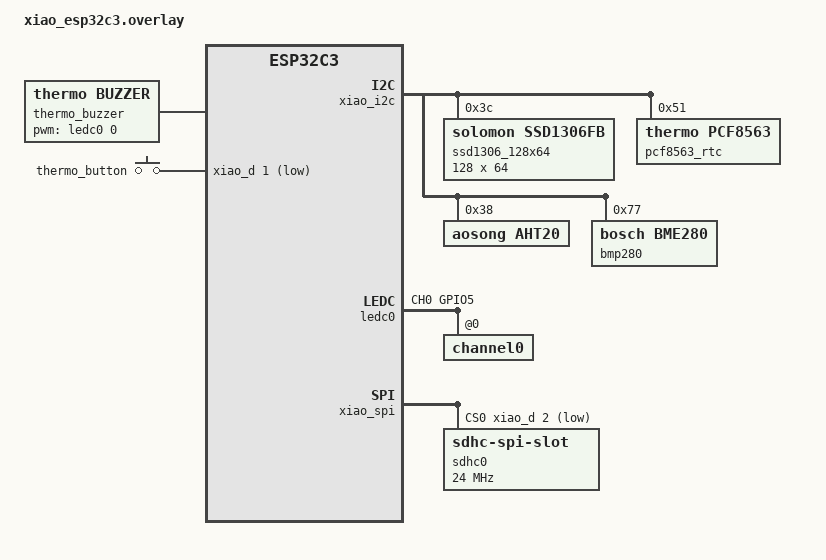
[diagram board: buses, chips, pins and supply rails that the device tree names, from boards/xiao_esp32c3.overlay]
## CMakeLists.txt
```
cmake_minimum_required(VERSION 3.20.0)

# デバッグログ (LOG_DBG と LOG_HEXDUMP_DBG) を有効にする. アプリのソースだけに, THERMO_LOG_LEVEL=4 (DBG) を付ける
# (Zephyr のモジュールは既定のレベルのまま. 全体を DBG にすると, ログの量が多すぎて動かなくなる).
# 例: west build -b xiao_esp32c3 app/thermo-node -- -DTHERMO_DEBUG_LOG=ON
option(THERMO_DEBUG_LOG "Enable the debug logs of the application" OFF)

# デバッグログのときはセンサのドライバの DBG ログも出す. DHT11 のドライバは "データのチェックサムが
# 合わない" (センサは応答したが, BLE の割り込みなどで読み取りが乱れた) を DBG ログに出す.
# このログがなく -EIO だけのときはセンサの応答がない (配線, 接触, 電源). native_sim にはセンサの
# ドライバがないので, 付けない
if(THERMO_DEBUG_LOG AND NOT BOARD MATCHES "^native_sim")
  list(APPEND EXTRA_CONF_FILE ${CMAKE_CURRENT_LIST_DIR}/debug.conf)
endif()

find_package(Zephyr REQUIRED HINTS $ENV{ZEPHYR_BASE})

project(thermo-node)
# strnlen は POSIX の関数. native_sim (glibc, -std=c99) ではこの定義がないと宣言が見えない
target_compile_definitions(app PRIVATE _POSIX_C_SOURCE=200809L)

target_sources(app PRIVATE src/main.c)
target_sources(app PRIVATE src/ble.c)

# thermo-node と thermo-gateway で共有する, BLE の UUID の定義 (app/common/)
target_include_directories(app PRIVATE ${CMAKE_CURRENT_SOURCE_DIR}/../common)
if(THERMO_DEBUG_LOG)
  target_compile_definitions(app PRIVATE THERMO_LOG_LEVEL=4)
endif()
target_sources(app PRIVATE src/sensor.c)
# OLED (CONFIG_THERMO_DISPLAY=n のときはビルドしない)
target_sources_ifdef(CONFIG_THERMO_DISPLAY app PRIVATE src/oled.c src/history.c src/button.c)
# 起動画面と起動音 (CONFIG_THERMO_BOOT_SCREEN と CONFIG_THERMO_BUZZER がどちらも n のときはビルドしない).
# 素材 (絵, 題名, メロディ) は private/src/boot_assets.c (別のプライベートリポジトリをサブモジュールとして置く)
# があればそれを使う. なければ, このアプリのオリジナルの素材 (src/boot_assets.c). docs/setup.md を参照
if(EXISTS ${CMAKE_CURRENT_SOURCE_DIR}/private/src/boot_assets.c)
  set(THERMO_BOOT_ASSETS ${CMAKE_CURRENT_SOURCE_DIR}/private/src/boot_assets.c)
else()
  set(THERMO_BOOT_ASSETS ${CMAKE_CURRENT_SOURCE_DIR}/src/boot_assets.c)
endif()
if(CONFIG_THERMO_BOOT_SCREEN OR CONFIG_THERMO_BUZZER)
  target_sources(app PRIVATE ${THERMO_BOOT_ASSETS})
  # private/ の素材が src/ のヘッダ (boot_assets.h, buzzer.h) を #include できるようにする
  target_include_directories(app PRIVATE ${CMAKE_CURRENT_SOURCE_DIR}/src)
endif()
target_sources_ifdef(CONFIG_THERMO_BUZZER app PRIVATE src/buzzer.c)
# ボタンを押したときの音 (CONFIG_THERMO_BUTTON_SOUND=n のときはビルドしない). 素材は private/src/button_assets.c があれば,
# それを使う (起動画面と起動音と同じ). なければ, このアプリのオリジナルの音 (src/button_assets.c). docs/setup.md を参照
if(EXISTS ${CMAKE_CURRENT_SOURCE_DIR}/private/src/button_assets.c)
  set(THERMO_BUTTON_ASSETS ${CMAKE_CURRENT_SOURCE_DIR}/private/src/button_assets.c)
else()
  set(THERMO_BUTTON_ASSETS ${CMAKE_CURRENT_SOURCE_DIR}/src/button_assets.c)
endif()
if(CONFIG_THERMO_BUTTON_SOUND)
  target_sources(app PRIVATE ${THERMO_BUTTON_ASSETS})
endif()

# RTC の時刻と, PCF8563 のドライバ (CONFIG_THERMO_RTC=n のときはビルドしない). binding は
# dts/bindings/rtc/thermo,pcf8563.yaml (アプリのディレクトリは Devicetree のルートになる)
target_sources_ifdef(CONFIG_THERMO_RTC app PRIVATE src/node_time.c drivers/rtc_pcf8563.c)

# WiFi と SNTP による時刻の取得と, WiFi での AWS IoT Core への直接の送信 (CONFIG_THERMO_WIFI_TIME=n のときは
# ビルドしない). 設定 (cfg), シェル (cfg_shell), WiFi (wifi_link), MQTT (cloud), SNTP (ntp), ペイロード
# (payload) は thermo-gateway と共有する, app/common/ のソース
target_sources_ifdef(CONFIG_THERMO_WIFI_TIME app PRIVATE
  ${CMAKE_CURRENT_SOURCE_DIR}/../common/cfg.c
  ${CMAKE_CURRENT_SOURCE_DIR}/../common/cfg_shell.c
  ${CMAKE_CURRENT_SOURCE_DIR}/../common/cloud.c
  ${CMAKE_CURRENT_SOURCE_DIR}/../common/ntp.c
  ${CMAKE_CURRENT_SOURCE_DIR}/../common/payload.c
  ${CMAKE_CURRENT_SOURCE_DIR}/../common/wifi_link.c
  src/wifi_shell.c
  src/wifi_time.c)
# ゲートウェイにつながらないときの, 直接の送信 (CONFIG_THERMO_DIRECT_MQTT=n のときはビルドしない)
target_sources_ifdef(CONFIG_THERMO_DIRECT_MQTT app PRIVATE src/direct.c)
# SD カードに溜める, 送れなかった測定値 (CONFIG_THERMO_BACKLOG=n のときはビルドしない)
target_sources_ifdef(CONFIG_THERMO_BACKLOG app PRIVATE src/backlog.c)
# ログの SD カードへの保存 (CONFIG_THERMO_SDLOG=n のときはビルドしない)
target_sources_ifdef(CONFIG_THERMO_SDLOG app PRIVATE src/sdlog.c)
# グラフの履歴の SD カードへの保存と復元 (CONFIG_THERMO_HISTORY_STORE=n のときはビルドしない)
target_sources_ifdef(CONFIG_THERMO_HISTORY_STORE app PRIVATE src/history_store.c)

# 警告オプション (app/warnings.txt). 警告が出たら修正する
include(${CMAKE_CURRENT_SOURCE_DIR}/../warnings.cmake)
include(${CMAKE_CURRENT_SOURCE_DIR}/../version.cmake)
```

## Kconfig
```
mainmenu "Thermo application"

config SIMULATOR
    bool "Build in simulator mode"
    help
      Use simulated sensor data and log simulator mode at startup.

config THERMO_ADC_MV_PER_DEG
    int "ADC temperature sensor: millivolts per degree Celsius"
    default 10
    range 1 1000
    help
      Used only when the temperature is read from an ADC channel
      (io-channels of zephyr,user). The default is for LM35
      (10 mV per degree Celsius).

config THERMO_ADC_OFFSET_MV
    int "ADC temperature sensor: voltage at 0 degrees Celsius [mV]"
    default 0
    range -2000 2000
    help
      Used only when the temperature is read from an ADC channel.
      The default is for LM35 (0 mV at 0 degrees Celsius).

config THERMO_DISPLAY
    bool "Show the temperature and the humidity on the OLED display"
    default y if $(dt_alias_enabled,thermo-display)
    select DISPLAY
    select CHARACTER_FRAMEBUFFER
    help
      Show the measured values on the OLED display (SSD1306, 128x64) of
      the Seeed Studio XIAO expansion board (Devicetree alias
      thermo-display). The default is y when the alias exists.
      Set n (-DCONFIG_THERMO_DISPLAY=n) to build without the display.

config THERMO_DISPLAY_TIMEOUT_SEC
    int "Turn off the OLED display after this many seconds (0: always on)"
    default 10
    range 0 3600
    depends on THERMO_DISPLAY
    help
      The OLED display is turned on when the node starts and when the
      user button (D1) is pressed, and it is turned off after this many
      seconds without a button press. The button press that wakes the
      display does not switch the page. Set 0 to keep the display on.

config THERMO_BOOT_SCREEN
    bool "Show the boot animation on the OLED display"
    default y
    depends on THERMO_DISPLAY
    help
      Show an animation (a round character eating dots, chased by an
      enemy) and the title for about 3 seconds when the node starts.
      The pictures are defined in boot_assets.c.

config THERMO_BUZZER
    bool "Play the boot sound with the buzzer of the expansion board"
    default y if $(dt_alias_enabled,thermo-buzzer)
    select PWM
    help
      Play a short melody with the passive buzzer of the Seeed Studio
      XIAO expansion board (D3, PWM of the LEDC) when the node starts.
      The melody is defined in boot_assets.c. The default is y when the
      Devicetree alias thermo-buzzer exists.

config THERMO_BUTTON_SOUND
    bool "Play a sound with the buzzer when the button is pressed"
    default y
    depends on THERMO_BUZZER && THERMO_DISPLAY
    help
      Play a short sound with the buzzer when the user button (D1) is
      pressed. The button switches the pages of the OLED display, so this
      depends on THERMO_DISPLAY. The sound is defined in button_assets.c.
      If app/thermo-node/private/src/button_assets.c exists, it is used
      instead (a private repository can be put there as a submodule).

config THERMO_RTC
    bool "Keep the time with the RTC (PCF8563) of the expansion board"
    default y if $(dt_alias_enabled,thermo-rtc)
    select I2C
    select RTC
    help
      Read the time from the RTC (PCF8563, Devicetree alias thermo-rtc)
      and show it on the OLED display. The RTC driver of this
      application (drivers/rtc_pcf8563.c, compatible thermo,pcf8563) is
      used, because the driver of Zephyr v4.3 does not handle the month
      and the year as the chip does. The default is y when the alias
      exists. Set n (-DCONFIG_THERMO_RTC=n) to build without the RTC.

config THERMO_UTC_OFFSET_MIN
    int "Offset of the local time from UTC [minutes]"
    default 540
    range -720 840
    depends on THERMO_RTC
    help
      The RTC keeps UTC. The OLED display shows the local time, which is
      UTC plus this offset. The default is 540 (UTC+9, Japan Standard
      Time).

config THERMO_WIFI_TIME
    bool "Get the time over WiFi when BLE does not give it"
    default y
    depends on THERMO_RTC
    help
      When the RTC has no time for 5 minutes (the gateway has not sent
      the time over BLE), connect to WiFi, get the time with SNTP, set
      the RTC and disconnect WiFi at once. WiFi is not used while the
      RTC has the time. The SSID and the password are entered with the
      "thermo" shell command (thermo set ssid ..., thermo set psk ...).

config THERMO_NTP_SERVER
    string "NTP server host name"
    default "pool.ntp.org"
    depends on THERMO_WIFI_TIME
    help
      The SNTP server that is asked for the time over WiFi.

config THERMO_NTP_RESYNC_SEC
    int "Minimum interval between two time synchronizations [s]"
    default 3600
    depends on THERMO_WIFI_TIME
    help
      Used when the node sends directly to AWS IoT Core over WiFi: after
      a successful synchronization, the next one is skipped until this
      many seconds have passed (it is tried at each WiFi connection).

config THERMO_DIRECT_MQTT
    bool "Send directly to AWS IoT Core over WiFi when the gateway is not connected"
    default y
    depends on THERMO_WIFI_TIME
    help
      When BLE is not connected to the gateway for 5 samples in a row,
      connect to WiFi and publish the temperature to AWS IoT Core with
      MQTT over TLS every 10 seconds. When the gateway connects again,
      stop and disconnect WiFi. If the WiFi or the MQTT connection fails
      5 times, give up until the gateway connects once more. The settings
      (SSID, password, endpoint, client ID, certificates) are entered with
      the "thermo" shell command, as for the gateway. Use a certificate and
      a client ID of its own for each node.

config THERMO_BACKLOG
    bool "Save the values on the SD card, and send them later"
    default y if $(dt_nodelabel_enabled,sdhc0)
    depends on THERMO_DIRECT_MQTT
    select DISK_ACCESS
    select FILE_SYSTEM
    select FAT_FILESYSTEM_ELM
    select CRC
    help
      Save every measurement (UNIX time, temperature, humidity and a
      "sent" flag) on the SD card of the expansion board (FAT, SPI).
      The values measured while BLE is connected to the gateway are
      saved as sent (the gateway sends them). The values measured while
      neither BLE nor WiFi is connected are saved as not sent, and sent
      to AWS IoT Core in the order of the time with MQTT when the
      gateway or WiFi is available again. The default is y when the SD
      card is in the Devicetree (the node label sdhc0). The card must be
      formatted with FAT.

config THERMO_BACKLOG_MAX_RECORDS
    int "Maximum number of the values on the SD card"
    default 100000
    range 10 4000000
    depends on THERMO_BACKLOG
    help
      One value takes 16 bytes. The file is a ring of this many values:
      when it is full, the oldest values are overwritten. The default
      100000 is about 1.6 MB, and about 5.8 days of the values saved
      every 5 seconds. The file is read once at the start (a few
      seconds for the default).

config THERMO_BACKLOG_MOUNT
    string "Mount point of the SD card"
    default "/SD:"
    depends on THERMO_BACKLOG
    help
      The FatFS volume name is the disk name of the Devicetree (SD).

config THERMO_SDLOG
    bool "Save the log on the SD card (the first minute after the start, and the errors)"
    default y
    depends on THERMO_BACKLOG
    depends on LOG
    help
      Save the log as text on the SD card of the expansion board, with a
      log backend. boot.log has all the logs of the first
      THERMO_SDLOG_BOOT_SEC seconds after the start (it is made again at
      every start). error.log has the errors (LOG_ERR) at any time. When
      it is full (THERMO_SDLOG_ERROR_MAX_BYTES), it is moved to error.old
      and a new error.log is made. The SD card is mounted by the backlog.

config THERMO_SDLOG_BOOT_SEC
    int "Seconds after the start in which all the logs are saved"
    default 60
    range 1 3600
    depends on THERMO_SDLOG

config THERMO_SDLOG_BOOT_BUF_SIZE
    int "RAM buffer of the boot log [bytes]"
    default 768
    range 128 16384
    depends on THERMO_SDLOG
    help
      The log is kept in RAM until it is written to the SD card (every
      second, and after the SD card is mounted). The log that does not
      fit is dropped, and reported as an error. The default is small,
      because the static RAM of the ESP32-C3 is almost full with BLE,
      WiFi and TLS (about 1 KB is left).

config THERMO_SDLOG_ERROR_BUF_SIZE
    int "RAM buffer of the error log [bytes]"
    default 256
    range 128 16384
    depends on THERMO_SDLOG

config THERMO_SDLOG_ERROR_MAX_BYTES
    int "Size of error.log at which it is moved to error.old [bytes]"
    default 65536
    range 512 4194304
    depends on THERMO_SDLOG

config THERMO_GRAPH_STEP_SEC
    int "Time per point of the graph on the OLED display [seconds]"
    default 170
    range 5 600
    depends on THERMO_DISPLAY
    help
      The graph pages of the OLED display (temperature and humidity)
      show the last 128 points, one point per this time (the average of
      the measurements in the time). The default 170 shows the last 6
      hours. 30 shows 64 minutes.

config THERMO_HISTORY_STORE
    bool "Restore the graph history from the SD card"
    default y
    depends on THERMO_BACKLOG && THERMO_DISPLAY && THERMO_RTC
    help
      When the node starts and the RTC has the time, rebuild the points
      of the graph (the average of the temperature and the humidity in a
      time step) from the records on the SD card, which are saved for
      every measurement. The time while the node was off is shown as a
      gap in the graph.

source "Kconfig.zephyr"
```

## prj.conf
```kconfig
# MCUboot ブートローダは使用しない
# CONFIG_BOOTLOADER_MCUBOOT is not set

# Bluetooth
CONFIG_BT=y
# デバイス名
CONFIG_BT_DEVICE_NAME="Thermo-Node"
CONFIG_BT_DEVICE_APPEARANCE=896
# ペリフェラルロール (アドバタイズして接続を受け付ける)
CONFIG_BT_PERIPHERAL=y
# 同時に接続できる数. 2 にすると BLE が使うヒープが増えて WiFi と TLS のぶんが足りなくなり, 直接送信が届かない (RAM が 99.9% 使われている. ゲートウェイと thermo-term は同時に接続できない)
CONFIG_BT_MAX_CONN=1
# GATT データベースを実行時に変更可能にする
CONFIG_BT_GATT_DYNAMIC_DB=y

# ログ
CONFIG_LOG=y
# ログを即時出力する (デバッグ向け)
CONFIG_LOG_MODE_IMMEDIATE=y

# GPIO
CONFIG_GPIO=y

# センサ API (AHT20 や DHT11 などの温湿度センサと, BMP280 などの気圧センサ. Devicetree の alias
# thermo-sensor と thermo-pressure). ドライバは Devicetree のノードで, 自動で有効になる.
# DHT11 の設定 (CONFIG_DHT_LOCK_IRQS) は sensors/dht11.conf
CONFIG_SENSOR=y

# ADC (アナログの温度センサ用. Devicetree の zephyr,user の io-channels)
CONFIG_ADC=y

# メインスレッドのスタック (OLED のグラフの描画で点の配列と履歴を使うため, 既定の 2048 では足りない.
# WiFi の接続と SNTP (CONFIG_THERMO_WIFI_TIME) もメインスレッドで呼ぶ)
CONFIG_MAIN_STACK_SIZE=6144

# --- WiFi と SNTP による時刻の取得 (CONFIG_THERMO_WIFI_TIME. BLE で時刻が届かないときだけ使う) ---
# ネットワーク (IPv4 と DHCP のみ)
CONFIG_NETWORKING=y
CONFIG_NET_IPV4=y
CONFIG_NET_IPV6=n
CONFIG_NET_DHCPV4=y
CONFIG_NET_TCP=y
CONFIG_NET_UDP=y
CONFIG_NET_SOCKETS=y
CONFIG_DNS_RESOLVER=y
# SNTP (時刻の取得)
CONFIG_SNTP=y
# WiFi (ステーションモード)
CONFIG_WIFI=y
CONFIG_NET_L2_WIFI_MGMT=y
CONFIG_NET_MGMT_EVENT_QUEUE_SIZE=16
# AWS IoT Core への直接の送信 (CONFIG_THERMO_DIRECT_MQTT. MQTT over TLS. thermo-gateway と同じ設定)
CONFIG_MQTT_LIB=y
CONFIG_MQTT_LIB_TLS=y
CONFIG_NET_SOCKETS_SOCKOPT_TLS=y
CONFIG_TLS_CREDENTIALS=y
CONFIG_MBEDTLS=y
CONFIG_MBEDTLS_BUILTIN=y
CONFIG_MBEDTLS_ENABLE_HEAP=y
CONFIG_MBEDTLS_HEAP_SIZE=40000
CONFIG_MBEDTLS_SSL_MAX_CONTENT_LEN=6144
CONFIG_MBEDTLS_ECDH_C=y
CONFIG_MBEDTLS_ECP_C=y
CONFIG_MBEDTLS_ECP_DP_SECP256R1_ENABLED=y
CONFIG_PSA_WANT_ALG_RSA_PKCS1V15_SIGN=y
CONFIG_PSA_WANT_ALG_RSA_PKCS1V15_CRYPT=y
CONFIG_PSA_WANT_ALG_SHA_256=y
CONFIG_PSA_WANT_ALG_HMAC=y
CONFIG_PSA_WANT_ALG_TLS12_PRF=y
CONFIG_PSA_WANT_KEY_TYPE_HMAC=y
CONFIG_PSA_WANT_KEY_TYPE_DERIVE=y
CONFIG_PSA_WANT_ALG_ECDH=y
CONFIG_PSA_WANT_KEY_TYPE_ECC_KEY_PAIR_GENERATE=y
CONFIG_PSA_WANT_KEY_TYPE_ECC_KEY_PAIR_IMPORT=y
CONFIG_PSA_WANT_KEY_TYPE_ECC_KEY_PAIR_EXPORT=y
CONFIG_PSA_WANT_KEY_TYPE_ECC_KEY_PAIR_DERIVE=y
CONFIG_PSA_WANT_ECC_SECP_R1_256=y
CONFIG_PSA_WANT_ALG_GCM=y
CONFIG_MBEDTLS_KEY_EXCHANGE_ECDHE_RSA_ENABLED=y
CONFIG_MBEDTLS_CIPHER_GCM_ENABLED=y
CONFIG_MBEDTLS_PEM_CERTIFICATE_FORMAT=y
CONFIG_NET_SOCKETS_CONNECT_TIMEOUT=30000
CONFIG_MBEDTLS_HAVE_TIME_DATE=y
CONFIG_BASE64=y
# 証明書をシェル (cred add) で登録する
CONFIG_TLS_CREDENTIALS_SHELL=y
CONFIG_TLS_CREDENTIALS_SHELL_CRED_BUF_SIZE=2048
CONFIG_HEAP_MEM_POOL_ADD_SIZE_TLS_CRED_SHELL=5000
# RAM を減らす (BLE と WiFi と TLS と SD カードを同時に使うと, RAM が足りなくなるため). ネットワークは MQTT の
# 1 本の接続と DNS だけなので, バッファの数を既定 (RX と TX の net_buf は 36, net_pkt は 14) から減らす.
# SD カードの FatFS は同時に開くファイルを 1 つ (backlog.c) か, シェルの fs コマンドの分だけにする
CONFIG_NET_BUF_RX_COUNT=24
CONFIG_NET_BUF_TX_COUNT=24
CONFIG_NET_PKT_RX_COUNT=10
CONFIG_NET_PKT_TX_COUNT=10
CONFIG_FS_FATFS_NUM_FILES=2
CONFIG_FS_FATFS_NUM_DIRS=2
# SSID とパスワードをフラッシュ (storage_partition) に保存する
CONFIG_SETTINGS=y
CONFIG_FLASH=y
CONFIG_FLASH_MAP=y
CONFIG_NVS=y
CONFIG_SETTINGS_NVS=y

# シェル (デバッグ用)
CONFIG_SHELL=y
CONFIG_SHELL_BACKEND_SERIAL=y

# ファイルシステムのシェル (fs ls, fs cat など). SD カードのログを picocom で確認するため.
# 注意: rm と write も使えるので, ログの書き込み中は実行しないこと (docs/setup.md)
CONFIG_FILE_SYSTEM=y
CONFIG_FILE_SYSTEM_SHELL=y

# コンソール
CONFIG_CONSOLE=y
CONFIG_UART_CONSOLE=y
```

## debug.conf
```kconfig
# デバッグログ (THERMO_DEBUG_LOG=ON) のときに, prj.conf に足す設定 (CMakeLists.txt が読み込む)

# センサのドライバの DBG ログ (DHT11 の, チェックサムの不一致など)
CONFIG_SENSOR_LOG_LEVEL_DBG=y
```

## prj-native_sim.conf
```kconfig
# シミュレータモード
# アプリ独自の Kconfig: シミュレータ用ビルドを有効にする
CONFIG_SIMULATOR=y

# Bluetooth
CONFIG_BT=y
# デバイス名
CONFIG_BT_DEVICE_NAME="Thermo-Node-Sim"
CONFIG_BT_DEVICE_APPEARANCE=896
# ペリフェラルロール (アドバタイズして接続を受け付ける)
CONFIG_BT_PERIPHERAL=y
# GATT データベースを実行時に変更可能にする
CONFIG_BT_GATT_DYNAMIC_DB=y

# ログ
CONFIG_LOG=y
# ログを即時出力する (デバッグ向け)
CONFIG_LOG_MODE_IMMEDIATE=y

# シェル (デバッグ用)
CONFIG_SHELL=y
CONFIG_SHELL_BACKEND_SERIAL=y

# コンソール
CONFIG_CONSOLE=y
CONFIG_UART_CONSOLE=y

# メインスレッドのスタックサイズ [byte]
CONFIG_MAIN_STACK_SIZE=8192

# 乱数生成
# テスト用の乱数生成器を使用 (native_sim 向け)
CONFIG_TEST_RANDOM_GENERATOR=y
```

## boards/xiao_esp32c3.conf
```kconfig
# SD カード (拡張ボードの, SPI の SD カードスロット) を使うための設定. XIAO ESP32C3 だけ
# (native_sim には SD カードの Devicetree のノードがない). 使わないときは CONFIG_THERMO_BACKLOG=n.
CONFIG_SPI=y
CONFIG_SDHC=y
CONFIG_DISK_DRIVER_SDMMC=y
```

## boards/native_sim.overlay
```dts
/* native_sim 用: ADC を持たないシミュレーション構成。io-channels を定義しないことでシミュレーション値にフォールバックする */
/ {
    zephyr_user {
        compatible = "vnd,thermo-node";
        status = "okay";
    };
};
```

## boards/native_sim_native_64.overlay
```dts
/* native_sim 用: ADC を持たないシミュレーション構成. io-channels を定義しないことでシミュレーション値にフォールバックする */
/ {
    zephyr,user {
    };
};
```

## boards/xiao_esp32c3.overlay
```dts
/*
 * 温湿度センサと気圧センサの接続 (XIAO ESP32C3)
 *
 * AHT20 + BMP280 のモジュール (4 ピン: VCC / GND / SDA / SCL. DC 2.8 V から 5 V) を, 拡張ボードの
 * I2C (Grove の I2C のコネクタ. D4 が SDA, D5 が SCL) につなぐ (VCC は 3V3).
 *   AHT20 (温度と湿度. I2C のアドレスは 0x38) は alias thermo-sensor で使う (Zephyr の aosong,aht20
 *   のドライバ).
 *   BMP280 (気圧. I2C のアドレスは 0x77) は alias thermo-pressure で使う (Zephyr の bosch,bme280 の
 *   ドライバ. チップの ID で BMP280 として動く). モジュールによっては 0x76 なので, 起動のログに
 *   Pressure sensor is not ready が出たら, bmp280 のノードの reg と, ノードの名前を 0x76 にする.
 * 温度は AHT20 の値を使う (BMP280 の温度は使わない). BMP280 が使えないときも温度と湿度は送る
 * (気圧なし).
 *
 * DHT11 (3 ピンのモジュール) に替えるときは, app/thermo-node/sensors/dht11.overlay を足して
 * ビルドする (THERMO_SENSOR=dht11 docker compose run --rm build-node. docs/setup.md).
 *
 * ADC のアナログセンサ (LM35 など) に替えるときはこのファイルの aliases の thermo-sensor と
 * thermo-pressure と, aht20 と bmp280 のノードを消して, zephyr,user に io-channels を書く
 * (ADC のチャンネルの設定も要る. 例は app/thermo-node/tests/sensor/adc.overlay). 温度への換算は
 * CONFIG_THERMO_ADC_MV_PER_DEG と CONFIG_THERMO_ADC_OFFSET_MV で設定する (prj.conf).
 *
 * OLED (拡張ボードの SSD1306. I2C のアドレスは 0x3C. D4 が SDA, D5 が SCL) は alias
 * thermo-display で使う. 使わないときは CONFIG_THERMO_DISPLAY=n でビルドする (prj.conf または
 * -DCONFIG_THERMO_DISPLAY=n). ノードの設定は Zephyr の seeed_xiao_expansion_board のシールドと
 * 同じ (シールドは SD カードの SPI も有効にするので, 使わない).
 *
 * ブザー (拡張ボードのパッシブブザー. D3 = GPIO5) は alias thermo-buzzer で使う. PWM (LEDC のチャンネル
 * 0) の周波数が音の高さになる. 起動のときの, 短いメロディを鳴らす (CONFIG_THERMO_BUZZER=n のときは
 * 使わない). PWM の周期は鳴らすときに, 音ごとに, 設定する (ここの値は使わない).
 *
 * ボタン (拡張ボードのユーザボタン. D1 = GPIO3. 押すと, 0 になる) は alias thermo-button で使い,
 * OLED の画面を切り替える (CONFIG_THERMO_DISPLAY=n のときは使わない).
 *
 * RTC (拡張ボードの PCF8563. I2C のアドレスは 0x51) は alias thermo-rtc で使う. Zephyr の RTC
 * ドライバ (nxp,pcf8563) は月と年の扱いがチップと合わないので使わず, このアプリのドライバ
 * (drivers/rtc_pcf8563.c. compatible は thermo,pcf8563) を使う. 使わないときは
 * CONFIG_THERMO_RTC=n でビルドする.
 */
#include <zephyr/dt-bindings/gpio/gpio.h>
#include <zephyr/dt-bindings/pwm/pwm.h>

/ {
    aliases {
        thermo-sensor = &aht20;
        thermo-pressure = &bmp280;
        thermo-display = &ssd1306_128x64;
        thermo-rtc = &pcf8563_rtc;
        thermo-button = &thermo_button;
        thermo-buzzer = &thermo_buzzer;
    };

    thermo_buzzer: pwm-buzzer {
        compatible = "thermo,buzzer";
        pwms = <&ledc0 0 PWM_HZ(1000) PWM_POLARITY_NORMAL>;
    };

    buttons {
        compatible = "gpio-keys";

        thermo_button: button_0 {
            gpios = <&xiao_d 1 (GPIO_PULL_UP | GPIO_ACTIVE_LOW)>;
        };
    };
};

&xiao_i2c {
    status = "okay";

    ssd1306_128x64: ssd1306@3c {
        compatible = "solomon,ssd1306fb";
        reg = <0x3c>;
        width = <128>;
        height = <64>;
        segment-offset = <0>;
        page-offset = <0>;
        display-offset = <0>;
        multiplex-ratio = <63>;
        segment-remap;
        com-invdir;
        prechargep = <0x22>;
    };

    pcf8563_rtc: pcf8563@51 {
        compatible = "thermo,pcf8563";
        reg = <0x51>;
        status = "okay";
    };

    aht20: aht20@38 {
        compatible = "aosong,aht20";
        reg = <0x38>;
        status = "okay";
    };

    bmp280: bmp280@77 {
        compatible = "bosch,bme280";
        reg = <0x77>;
        status = "okay";
    };
};

&pinctrl {
    ledc0_default: ledc0_default {
        group1 {
            pinmux = <LEDC_CH0_GPIO5>;
            output-enable;
        };
    };
};

&ledc0 {
    pinctrl-0 = <&ledc0_default>;
    pinctrl-names = "default";
    status = "okay";
    #address-cells = <1>;
    #size-cells = <0>;

    channel0@0 {
        reg = <0x0>;
        timer = <0>;
    };
};

/*
 * SD カード (拡張ボードの, SPI の SD カードスロット. CS は D2) は送れなかった測定値を溜めるために使う
 * (CONFIG_THERMO_BACKLOG). Zephyr の seeed_xiao_expansion_board のシールドと同じ設定 (SPI は XIAO の
 * D8 が SCK, D9 が MISO, D10 が MOSI). ディスク名は SD (マウントポイント /SD:).
 */
&xiao_spi {
    status = "okay";
    cs-gpios = <&xiao_d 2 GPIO_ACTIVE_LOW>;

    sdhc0: sdhc@0 {
        compatible = "zephyr,sdhc-spi-slot";
        reg = <0>;
        status = "okay";

        mmc {
            compatible = "zephyr,sdmmc-disk";
            disk-name = "SD";
            status = "okay";
        };
        spi-max-frequency = <24000000>;
    };
};
```

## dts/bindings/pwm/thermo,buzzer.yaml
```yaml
# Copyright (c) 2026 Tetsuya Higashi
# SPDX-License-Identifier: GPL-3.0-or-later

description: |
  Passive buzzer driven by a PWM channel (the buzzer of the Seeed Studio XIAO expansion board).
  The frequency of the PWM is the pitch of the sound (the duty cycle is 50%).

compatible: "thermo,buzzer"

include: base.yaml

properties:
  pwms:
    type: phandle-array
    required: true
    description: The PWM channel that drives the buzzer
```

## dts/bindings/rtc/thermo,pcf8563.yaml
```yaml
# Copyright (c) 2026 Tetsuya Higashi
# SPDX-License-Identifier: GPL-3.0-or-later

description: |
  NXP PCF8563 RTC (the driver of thermo-node: app/thermo-node/drivers/rtc_pcf8563.c).
  It is not nxp,pcf8563 because the RTC driver of Zephyr v4.3 does not handle
  the month and the year as the chip does.

compatible: "thermo,pcf8563"

include:
  - name: rtc-device.yaml
  - name: i2c-device.yaml
```

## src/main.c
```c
/*
 * Copyright (c) 2026 Tetsuya Higashi
 *
 * SPDX-License-Identifier: GPL-3.0-or-later
 */

/**
 * @file
 * @brief thermo-node のエントリポイント
 */

#include <zephyr/kernel.h>
#include <zephyr/logging/log.h>
#include <stdbool.h> /* true */
#include <stdint.h>  /* int16_t uint16_t */
#include <stdlib.h>  /* EXIT_SUCCESS EXIT_FAILURE abs */

#include "backlog.h"
#include "ble.h"
#if defined(CONFIG_THERMO_BOOT_SCREEN) || defined(CONFIG_THERMO_BUZZER)
#include "boot_assets.h"
#endif
#ifdef CONFIG_THERMO_BUZZER
#include "buzzer.h"
#endif
#ifdef CONFIG_THERMO_BUTTON_SOUND
#include "button_assets.h"
#endif
#ifdef CONFIG_THERMO_RTC
#include "node_time.h"
#endif
#ifdef CONFIG_THERMO_WIFI_TIME
#include "wifi_time.h"
#endif
#ifdef CONFIG_THERMO_DIRECT_MQTT
#include "direct.h"
#endif
#ifdef CONFIG_THERMO_DISPLAY
#include "button.h"
#include "history.h"
#include "history_store.h"
#include "oled.h"
#endif
#include "sdlog.h"
#include "sensor.h"
#include "thermo_ble_uuid.h"
#include "thermo_log.h"
#include "thermo_version.h"

LOG_MODULE_REGISTER(thermo_node, THERMO_LOG_LEVEL);

/** 任意の機器 (RTC, OLED, ボタン) を使えるか. 初期化に失敗した機器は一定間隔で再試行する */
struct optional_devices {
    bool is_rtc_ready;     /**< RTC を使えるか */
    bool is_display_ready; /**< OLED を使えるか */
    bool is_button_ready;  /**< ボタンを使えるか */
    bool is_buzzer_ready;  /**< ブザーを使えるか */
    bool is_wifi_ready;    /**< WiFi (時刻の取得) を使えるか */
};

static void log_sample(int16_t temp_x10, uint16_t humidity_x10, uint16_t pressure_x10);

static void init_optional(struct optional_devices *devs);

#ifdef CONFIG_THERMO_DISPLAY
static bool set_display_power(bool is_on);
#endif

static void boot_sequence(const struct optional_devices *devs);

static int measure(int16_t *temp_x10, uint16_t *humidity_x10, uint16_t *pressure_x10);

static int64_t next_grid_ms(int64_t start_ms, int64_t now_ms, int64_t interval_ms);

#ifdef CONFIG_THERMO_WIFI_TIME
static bool check_time(bool is_time_valid, bool is_wifi_ready, unsigned int *tries);
#endif

#ifdef CONFIG_THERMO_BUTTON_SOUND
static void play_button_sound(bool is_buzzer_ready);
#endif

/** 温度を測定する間隔 [ms] */
#define SAMPLE_INTERVAL_MS 5000

/** OLED と時刻を更新する間隔 [ms] (時刻の秒を 1 秒ごとに更新する) */
#define REDRAW_INTERVAL_MS 1000

/** 任意の機器の初期化に失敗したときに, やり直す間隔 [s] */
#define RETRY_INTERVAL_S 60

/** 任意の機器の初期化に失敗したときに, やり直す間隔 [ms] */
#define RETRY_INTERVAL_MS (RETRY_INTERVAL_S * 1000)

#ifdef CONFIG_THERMO_WIFI_TIME
#ifdef CONFIG_THERMO_DIRECT_MQTT
/** WiFi での直接の送信を動かしているか (動かしている間は WiFi を時刻の取得に使わない) */
#define DIRECT_BUSY() direct_is_active()
#else
/** WiFi での直接の送信を使わないビルドでは動かしていない */
#define DIRECT_BUSY() false
#endif

/** RTC に時刻があるかを確かめる間隔 [ms] (1 分. 最初の確認は起動の 1 分後) */
#define TIME_CHECK_INTERVAL_MS 60000

/** WiFi で時刻を取る試みの回数の上限 (時刻がなくて試みて失敗した回数) */
#define WIFI_TRY_LIMIT 5U
#endif

/** メインループの周期 [ms] (ボタンを調べる間隔. ボタンのチャタリングを無視する時間にもなる) */
#define TICK_MS 50

#ifdef CONFIG_THERMO_DISPLAY
/** グラフの 1 点の時間 [ms] (CONFIG_THERMO_GRAPH_STEP_SEC) */
#define GRAPH_STEP_MS ((int64_t)CONFIG_THERMO_GRAPH_STEP_SEC * 1000)

/** ボタンを押さずに, OLED を消すまでの時間 [ms] (CONFIG_THERMO_DISPLAY_TIMEOUT_SEC. 0 は消さない)
 */
#define DISPLAY_TIMEOUT_MS ((int64_t)CONFIG_THERMO_DISPLAY_TIMEOUT_SEC * 1000)
#endif

/**
 * @brief ノードのメイン関数
 *
 * センサと BLE を初期化してアドバタイズを開始する. その後は 50 ms ごとのループで, 一定間隔
 * (SAMPLE_INTERVAL_MS) で温度を読み取ってログに出し, 接続しているゲートウェイへ通知 (GATT の
 * notify) する. ゲートウェイから時刻を受け取ったら (GATT の write), RTC に設定する
 * (CONFIG_THERMO_RTC). OLED があれば (CONFIG_THERMO_DISPLAY), 温度と湿度と時刻を 1 秒ごとに
 * 表示して, 温度と湿度の履歴 (グラフ) を覚える. ボタンを押すとページを切り替えて, すぐに表示し
 * 直す. OLED は起動のときとボタンを押したときに点灯し, ボタンを押さずに
 * CONFIG_THERMO_DISPLAY_TIMEOUT_SEC (既定 10 秒) たつと消える (0 なら消さない). 消えている間に
 * ボタンを押すと点灯するだけで, ページは切り替えず, ボタンの音も鳴らさない. 時刻は RTC
 * (CONFIG_THERMO_RTC) から読む. OLED と RTC とボタンの初期化に失敗しても, 表示と時刻を諦めるだけで
 * 測定と通知は続ける. 起動時の一時的な失敗から復帰するため, 初期化は RETRY_INTERVAL_MS ごとに
 * やり直す. 起動のときは OLED に起動画面を出して (約 3 秒), ブザーでメロディを鳴らす
 * (CONFIG_THERMO_BOOT_SCREEN と CONFIG_THERMO_BUZZER). ボタンを押したときもブザーで短い音を鳴らす
 * (CONFIG_THERMO_BUTTON_SOUND). RTC に時刻がないときは, 起動の 1 分後から 1 分ごとに確かめる.
 * ゲートウェイから時刻が届かなければ, WiFi と SNTP で時刻を取って RTC に設定する (最大 5 回.
 * CONFIG_THERMO_WIFI_TIME).
 *
 * @retval EXIT_FAILURE 初期化またはアドバタイズ開始に失敗した場合
 *                      (正常時はループから戻らない)
 */
int main(void)
{
    int ret = EXIT_SUCCESS;            /* 戻り値 */
    int64_t start_ms = k_uptime_get(); /* ループを始めた稼働時間 [ms] */
    int64_t next_sample_ms = 0;        /* 次に測る稼働時間 [ms] (初回はすぐ測る) */
    int64_t next_redraw_ms = 0;        /* 次に表示を更新する稼働時間 [ms] */
    int64_t next_retry_ms = start_ms + RETRY_INTERVAL_MS; /* 次に初期化をやり直す稼働時間 [ms] */
    int64_t now_ms = 0;                                   /* 今の稼働時間 [ms] */
    int16_t temp_x10 = 0;                                 /* 温度 [℃ の 10 倍] */
    uint16_t humidity_x10 = 0;                            /* 湿度 [% の 10 倍] */
    uint16_t pressure_x10 = 0;                            /* 気圧 [hPa の 10 倍] */
    struct optional_devices devs = {0};                   /* 任意の機器を使えるか */
#ifdef CONFIG_THERMO_RTC
    struct node_datetime datetime = {0}; /* RTC のローカルタイム */
#endif
#ifdef CONFIG_THERMO_WIFI_TIME
    int64_t next_time_check_ms = 0; /* 次に RTC の時刻を確かめる稼働時間 [ms] */
    unsigned int wifi_tries = 0U;   /* WiFi で時刻を取ろうとした回数 */
    bool is_time_done = false;      /* 時刻の確認を終えたか (時刻がある, または試みを尽くした) */
#endif
#ifdef CONFIG_THERMO_DISPLAY
    struct history temp_history = {0};     /* 温度の履歴 */
    struct history humidity_history = {0}; /* 湿度の履歴 */
    struct oled_view view = {0};           /* OLED に表示する内容 */
    bool is_display_on = false;            /* OLED が点灯しているか */
    int64_t display_off_ms = 0;            /* OLED を消す稼働時間 [ms] */
    bool is_prev_display = false;          /* やり直しの前に, OLED を使えたか */
#endif

#ifdef CONFIG_THERMO_DIRECT_MQTT
    /* SD カードをマウントして, ログを保存できるようにする (約 0.5 秒. 記録の読み込みはあとの
     * direct_init() で行う). 起動のログが RAM のバッファ (768 バイト) にあふれないよう,
     * 最初に行う (センサと BLE の初期化のログだけでバッファが埋まる)
     */
    ret = backlog_mount();
    if (ret != EXIT_SUCCESS) {
        LOG_WRN("No SD card, the log is not saved (err %d)", ret);
    }
#endif

/* ビルド構成に応じて起動ログを切り替える */
#ifdef CONFIG_SIMULATOR
    LOG_INF("Thermo Node started (SIMULATOR MODE)");
#else
    LOG_INF("Thermo Node started on ESP32C3");
#endif
    LOG_INF("Version %s (git %s)", THERMO_VERSION, THERMO_GIT_HASH);

    /* センサを初期化する */
    ret = sensor_init();
    if (ret != EXIT_SUCCESS) {
        LOG_ERR("Failed to initialize sensor");
        return EXIT_FAILURE;
    }
    /* バッファ (768 バイト) があふれないよう, 起動のログは初期化の区切りごとに SD カードに書く */
    sdlog_flush();

    /* BLE を初期化する */
    ret = ble_init();
    if (ret != EXIT_SUCCESS) {
        LOG_ERR("Failed to initialize BLE");
        return EXIT_FAILURE;
    }
    sdlog_flush();

#ifdef CONFIG_THERMO_RTC
    /* ゲートウェイが SNTP で得た時刻を書き込んできたら, RTC に設定する */
    ble_set_time_callback(node_time_set);
#endif

    /* ゲートウェイから検出されるようアドバタイズを開始する */
    ret = ble_advertise();
    if (ret != EXIT_SUCCESS) {
        LOG_ERR("Failed to start BLE advertising");
        return EXIT_FAILURE;
    }
    sdlog_flush();

    /* RTC と OLED とボタンを初期化する (失敗しても測定と通知は続ける) */
    init_optional(&devs);
    /* ここまでのログを SD カードに書く (起動画面の約 3 秒の間に, 溜まりすぎないように) */
    sdlog_flush();
    LOG_INF("Boot screen starts (uptime %lld ms)", (long long)k_uptime_get());
    boot_sequence(&devs);
    LOG_INF("Boot screen ended (uptime %lld ms)", (long long)k_uptime_get());
#if defined(CONFIG_THERMO_DISPLAY) && defined(CONFIG_THERMO_RTC)
    /* 時刻をすぐ見られるよう, 時間のかかる処理の前に, 1 回表示する (測定値はまだない) */
    if (devs.is_display_ready && devs.is_rtc_ready) {
        (void)node_time_get(&datetime);
        view.time = &datetime;
        ret = oled_show(&view);
        if (ret != EXIT_SUCCESS) {
            LOG_ERR("Failed to show on the OLED (err %d)", ret);
        }
    }
#endif
#ifdef CONFIG_THERMO_DIRECT_MQTT
    /* ゲートウェイにつながらないときの, WiFi での直接の送信を準備する (失敗しても続ける).
     * SD カードの全記録の読み込みに時間がかかるので, 時刻の表示のあとに行う
     */
    ret = direct_init();
    if (ret != EXIT_SUCCESS) {
        LOG_ERR("Direct publish is not available (err %d)", ret);
    }
#endif
    LOG_INF("Initialization done (uptime %lld ms)", (long long)k_uptime_get());
    /* SD カードをマウントできていれば, ここまでの起動のログを書く */
    sdlog_flush();
    /* 起動画面と direct_init() の間を除いてループの時間を数える */
    start_ms = k_uptime_get();
    next_retry_ms = start_ms + RETRY_INTERVAL_MS;
#ifdef CONFIG_THERMO_WIFI_TIME
    next_time_check_ms = start_ms + TIME_CHECK_INTERVAL_MS;
#endif
#ifdef CONFIG_THERMO_DISPLAY
    view.temp_history = &temp_history;
    view.humidity_history = &humidity_history;
    /* OLED は起動画面から点灯していて, ボタンを押さずに DISPLAY_TIMEOUT_MS たつと消える */
    is_display_on = devs.is_display_ready;
    display_off_ms = start_ms + DISPLAY_TIMEOUT_MS;
#endif

    /* 50 ms ごとにボタンを調べて, 一定間隔で温度と湿度を測り, 1 秒ごとに時刻を表示する */
    while (true) {
        now_ms = k_uptime_get();

        if (now_ms >= next_sample_ms) {
            next_sample_ms = next_grid_ms(start_ms, now_ms, SAMPLE_INTERVAL_MS);
            ret = measure(&temp_x10, &humidity_x10, &pressure_x10);
#ifdef CONFIG_THERMO_DIRECT_MQTT
            /* ゲートウェイにつながらない測定が続いたら, WiFi で直接送る */
            if (ret == EXIT_SUCCESS) {
                direct_sample(temp_x10, humidity_x10, pressure_x10);
            }
#endif
#ifdef CONFIG_THERMO_DISPLAY
            /* 読み取りに失敗したときは前回の値を表示し続ける */
            if (ret == EXIT_SUCCESS) {
                view.has_sample = true;
                view.temp_x10 = temp_x10;
                view.humidity_x10 = humidity_x10;
                history_add(&temp_history, temp_x10, now_ms, GRAPH_STEP_MS);
                if (humidity_x10 != THERMO_HUMIDITY_NONE) {
                    history_add(&humidity_history, (int16_t)humidity_x10, now_ms, GRAPH_STEP_MS);
                }
                /* 区切りが終わった点を SD カードに保存する (起動のあとは保存してあった点を戻す)
                 */
                history_store_update(&temp_history, &humidity_history, now_ms, GRAPH_STEP_MS);
            }
#endif
        }

#ifdef CONFIG_THERMO_DISPLAY
        /* ボタンが押されたら, 次のページにして, すぐに表示し直す (消えている OLED は点灯するだけ)
         */
        if (devs.is_button_ready && button_is_pressed()) {
            if (is_display_on || (!devs.is_display_ready)) {
                view.page = (view.page + 1U) % OLED_PAGE_COUNT;
#ifdef CONFIG_THERMO_BUTTON_SOUND
                play_button_sound(devs.is_buzzer_ready);
#endif
            } else {
                /* 点灯のための押下では音を鳴らさない */
                is_display_on = set_display_power(true);
            }
            display_off_ms = now_ms + DISPLAY_TIMEOUT_MS;
            next_redraw_ms = now_ms;
        }

        /* ボタンを押さずに DISPLAY_TIMEOUT_MS たったら, OLED を消す (0 のときは消さない) */
        if ((DISPLAY_TIMEOUT_MS > 0) && is_display_on && (now_ms >= display_off_ms)) {
            if (set_display_power(false)) {
                is_display_on = false;
            } else {
                display_off_ms = now_ms + REDRAW_INTERVAL_MS;
            }
        }
#endif

        /* 初期化に失敗した機器をやり直す (起動のときの一時的な失敗から, 復帰する) */
        if (now_ms >= next_retry_ms) {
            next_retry_ms = next_grid_ms(start_ms, now_ms, RETRY_INTERVAL_MS);
#ifdef CONFIG_THERMO_DISPLAY
            is_prev_display = devs.is_display_ready;
#endif
            init_optional(&devs);
#ifdef CONFIG_THERMO_DISPLAY
            /* OLED が使えるようになったら (初期化で点灯する), 消すまでの時間を数え直す */
            if ((!is_prev_display) && devs.is_display_ready) {
                is_display_on = true;
                display_off_ms = now_ms + DISPLAY_TIMEOUT_MS;
            }
#endif
        }

#ifdef CONFIG_THERMO_WIFI_TIME
        /* 1 分ごとに, RTC に時刻がなければ, WiFi で時刻を取る (最大 5 回. RTC が使えるまで待つ) */
        if ((!is_time_done) && (now_ms >= next_time_check_ms) && devs.is_rtc_ready &&
            (!DIRECT_BUSY())) {
            next_time_check_ms = next_grid_ms(start_ms, now_ms, TIME_CHECK_INTERVAL_MS);
            is_time_done = check_time(datetime.is_valid, devs.is_wifi_ready, &wifi_tries);
        }
#endif

        if (now_ms >= next_redraw_ms) {
            next_redraw_ms = next_grid_ms(start_ms, now_ms, REDRAW_INTERVAL_MS);
            /* 溜めたログを SD カードに書く (カードがないときは何もしない) */
            sdlog_flush();
#ifdef CONFIG_THERMO_RTC
            if (devs.is_rtc_ready) {
                /* 未設定や読み取りの失敗のときは datetime.valid が false (時刻なしと表示する) */
                (void)node_time_get(&datetime);
#ifdef CONFIG_THERMO_DISPLAY
                view.time = &datetime;
#endif
            }
#endif
#ifdef CONFIG_THERMO_DISPLAY
            /* OLED に表示する (点灯している間だけ. 失敗しても次回に再試行する) */
            if (is_display_on) {
                ret = oled_show(&view);
                if (ret != EXIT_SUCCESS) {
                    LOG_ERR("Failed to show on the OLED (err %d)", ret);
                }
            }
#endif
        }

        (void)k_msleep(TICK_MS);
    }
}

#ifdef CONFIG_THERMO_DISPLAY
/**
 * OLED を点灯または消灯する (失敗したときはログを出す)
 *
 * @param[in] is_on 点灯するなら true, 消灯するなら false
 * @retval true  成功
 * @retval false 失敗
 */
static bool set_display_power(bool is_on)
{
    int ret = EXIT_SUCCESS; /* 戻り値 */

    ret = oled_set_power(is_on);
    if (ret != EXIT_SUCCESS) {
        LOG_ERR("Failed to turn %s the OLED (err %d)", (is_on ? "on" : "off"), ret);
        return false;
    }

    return true;
}
#endif

/**
 * 任意の機器 (RTC, OLED, ボタン) のうち, まだ使えないものを初期化する
 *
 * 起動のときに呼んで, 失敗した機器は RETRY_INTERVAL_MS ごとに, もう一度呼ぶ. 失敗しても,
 * その機器を使えないだけで, 測定と通知は続ける. 使えるようになった機器は呼ばない.
 *
 * @param[in,out] devs 任意の機器を使えるか (初期化に成功した機器を true にする)
 */
static void init_optional(struct optional_devices *devs)
{
#ifdef CONFIG_THERMO_RTC
    int rtc_ret = EXIT_SUCCESS; /* RTC の初期化の戻り値 */
#endif
#ifdef CONFIG_THERMO_BUZZER
    int buzzer_ret = EXIT_SUCCESS; /* ブザーの初期化の戻り値 */
#endif
#ifdef CONFIG_THERMO_WIFI_TIME
    int wifi_ret = EXIT_SUCCESS; /* WiFi (時刻の取得) の初期化の戻り値 */
#endif
#ifdef CONFIG_THERMO_DISPLAY
    int display_ret = EXIT_SUCCESS; /* OLED の初期化の戻り値 */
    int button_ret = EXIT_SUCCESS;  /* ボタンの初期化の戻り値 */
#endif

    ARG_UNUSED(devs);

#ifdef CONFIG_THERMO_RTC
    if (!devs->is_rtc_ready) {
        rtc_ret = node_time_init();
        devs->is_rtc_ready = (rtc_ret == EXIT_SUCCESS);
        if (!devs->is_rtc_ready) {
            LOG_ERR("Failed to initialize the RTC (err %d), no time (retry in %d s)", rtc_ret,
                    RETRY_INTERVAL_S);
        }
    }
#endif

#ifdef CONFIG_THERMO_WIFI_TIME
    if (!devs->is_wifi_ready) {
        wifi_ret = wifi_time_init();
        devs->is_wifi_ready = (wifi_ret == EXIT_SUCCESS);
        if (!devs->is_wifi_ready) {
            LOG_ERR("Failed to initialize WiFi (err %d), no time over WiFi (retry in %d s)",
                    wifi_ret, RETRY_INTERVAL_S);
        }
    }
#endif

#ifdef CONFIG_THERMO_BUZZER
    if (!devs->is_buzzer_ready) {
        buzzer_ret = buzzer_init();
        devs->is_buzzer_ready = (buzzer_ret == EXIT_SUCCESS);
        if (!devs->is_buzzer_ready) {
            LOG_ERR("Failed to initialize the buzzer (err %d), no sound (retry in %d s)",
                    buzzer_ret, RETRY_INTERVAL_S);
        }
    }
#endif

#ifdef CONFIG_THERMO_DISPLAY
    if (!devs->is_display_ready) {
        display_ret = oled_init();
        devs->is_display_ready = (display_ret == EXIT_SUCCESS);
        if (!devs->is_display_ready) {
            LOG_ERR("Failed to initialize the OLED (err %d), no display (retry in %d s)",
                    display_ret, RETRY_INTERVAL_S);
        }
    }

    if (!devs->is_button_ready) {
        button_ret = button_init();
        devs->is_button_ready = (button_ret == EXIT_SUCCESS);
        if (!devs->is_button_ready) {
            LOG_ERR("Failed to initialize the button (err %d), the page is not switched "
                    "(retry in %d s)",
                    button_ret, RETRY_INTERVAL_S);
        }
    }
#endif
}

/**
 * 起動の画面と音を出す (起動のときに 1 回だけ)
 *
 * ブザーのメロディはワークキューで鳴るので, すぐに戻る. 起動画面は OLED_BOOT_FRAME_MS ごとに 1
 * フレームずつ, OLED_BOOT_FRAMES フレーム (約 3 秒) 表示する. その間, この関数は戻らない (BLE
 * のアドバタイズはすでに始まっている). 1 フレームの描画 (I2C) に時間がかかっても全体を約 3 秒に
 * するため, 時間が遅れたら間のフレームを飛ばす. 失敗したときはログを出して続ける
 * (画面や音を諦めるだけ).
 *
 * @param[in] devs 任意の機器を使えるか (使えない機器の画面や音は出さない)
 */
static void boot_sequence(const struct optional_devices *devs)
{
#ifdef CONFIG_THERMO_BUZZER
    int sound_ret = EXIT_SUCCESS; /* メロディを始める戻り値 */
#endif
#ifdef CONFIG_THERMO_BOOT_SCREEN
    unsigned int frame = 0U;       /* 起動画面のフレームの番号 */
    int screen_ret = EXIT_SUCCESS; /* 起動画面の戻り値 */
    int64_t start_ms = 0;          /* 起動画面を始めた稼働時間 [ms] */
    int64_t next_ms = 0;           /* 次のフレームの稼働時間 [ms] */
    int64_t now_ms = 0;            /* 今の稼働時間 [ms] */
#endif

    ARG_UNUSED(devs);

#ifdef CONFIG_THERMO_BUZZER
    if (devs->is_buzzer_ready) {
        sound_ret = buzzer_play(boot_melody, boot_melody_count);
        if (sound_ret != EXIT_SUCCESS) {
            LOG_ERR("Failed to play the boot sound (err %d)", sound_ret);
        }
    }
#endif

#ifdef CONFIG_THERMO_BOOT_SCREEN
    if (devs->is_display_ready) {
        start_ms = k_uptime_get();
        while (frame < OLED_BOOT_FRAMES) {
            screen_ret = oled_show_boot(frame);
            if (screen_ret != EXIT_SUCCESS) {
                LOG_ERR("Failed to show the boot screen (err %d)", screen_ret);
                break;
            }
            /* 次のフレームの時刻まで待つ (描画に時間がかかって遅れていれば, 待たない) */
            next_ms = start_ms + ((int64_t)(frame + 1U) * OLED_BOOT_FRAME_MS);
            now_ms = k_uptime_get();
            if (now_ms < next_ms) {
                (void)k_msleep((int32_t)(next_ms - now_ms));
            }
            /* 今の時刻のフレーム (遅れていれば間のフレームを飛ばす. 次のフレーム以降になる) */
            frame = (unsigned int)((k_uptime_get() - start_ms) / OLED_BOOT_FRAME_MS);
        }
    }
#endif
}

#ifdef CONFIG_THERMO_WIFI_TIME
/**
 * RTC に時刻がなければ, WiFi と SNTP で時刻を取って, RTC に設定する
 *
 * 1 分ごとに呼ぶ (最初は起動の 1 分後. その間に BLE でゲートウェイから時刻が届けば, RTC に
 * 時刻がある). RTC に時刻があれば, BLE でも WiFi でも取る必要がないので, 何もしないで,
 * 確認を終える. なければ, WiFi につないで時刻を取り, すぐに WiFi を切る (最大 25 秒,
 * この関数は戻らない). 取れなかったときはログを出して, 次の確認でやり直す. 試みが WIFI_TRY_LIMIT
 * 回になったら, 確認を終える (その後に BLE で時刻が届けば, RTC に設定される). WiFi を使えないとき
 * (初期化の失敗) は試みに数えず次の確認を待つ.
 *
 * @param[in]     is_time_valid RTC に時刻があるか (直前に読んだ結果)
 * @param[in]     is_wifi_ready WiFi (時刻の取得) を使えるか
 * @param[in,out] tries      WiFi で時刻を取ろうとした回数
 * @retval true  確認を終えた (RTC に時刻がある, または試みを尽くした)
 * @retval false 次の確認でも続ける
 */
static bool check_time(bool is_time_valid, bool is_wifi_ready, unsigned int *tries)
{
    int64_t unix_s = 0;     /* WiFi で取った UTC の UNIX 時刻 [s] */
    int ret = EXIT_SUCCESS; /* 戻り値 */

    if (is_time_valid) {
        return true;
    }

    if (!is_wifi_ready) {
        LOG_WRN("No time in the RTC, WiFi is not available");
        return false;
    }

    (*tries)++;
    LOG_WRN("No time in the RTC, getting it over WiFi (try %u of %u)", *tries, WIFI_TRY_LIMIT);
    ret = wifi_time_fetch(&unix_s);
    if (ret != EXIT_SUCCESS) {
        LOG_ERR("Failed to get the time over WiFi (err %d)", ret);
        return *tries >= WIFI_TRY_LIMIT;
    }

    ret = node_time_set(unix_s);
    if (ret != EXIT_SUCCESS) {
        LOG_ERR("Failed to set the RTC (err %d)", ret);
        return *tries >= WIFI_TRY_LIMIT;
    }

    return true;
}
#endif

#ifdef CONFIG_THERMO_BUTTON_SOUND
/**
 * ボタンを押したときの音を鳴らす
 *
 * 鳴っている音 (起動のメロディなど) があれば, 止めて, この音を最初から鳴らす. 鳴らせなかったときは
 * ログを出して, 続ける (ページの切り替えには影響しない).
 *
 * @param[in] is_buzzer_ready ブザーを使えるか (使えないときは何もしない)
 */
static void play_button_sound(bool is_buzzer_ready)
{
    int ret = EXIT_SUCCESS; /* 戻り値 */

    if (!is_buzzer_ready) {
        return;
    }

    ret = buzzer_play(button_melody, button_melody_count);
    if (ret != EXIT_SUCCESS) {
        LOG_ERR("Failed to play the button sound (err %d)", ret);
    }
}
#endif

/**
 * 温度と湿度と気圧を読み取って, ログに出力して, ゲートウェイへ通知する
 *
 * 読み取りに失敗したときは今回の値を捨てて (通知しない), 次回に再試行する. 通知に失敗しても,
 * 次回に再試行する.
 *
 * @param[out] temp_x10     温度 [℃ の 10 倍] の格納先 (NULL 不可)
 * @param[out] humidity_x10 湿度 [% の 10 倍] の格納先 (NULL 不可)
 * @param[out] pressure_x10 気圧 [hPa の 10 倍] の格納先 (NULL 不可)
 * @retval EXIT_SUCCESS 読み取りに成功 (通知の失敗は戻り値に含めない)
 * @retval negative     センサの読み取りの失敗 (負の errno)
 */
static int measure(int16_t *temp_x10, uint16_t *humidity_x10, uint16_t *pressure_x10)
{
    int ret = EXIT_SUCCESS;        /* 戻り値 */
    int notify_ret = EXIT_SUCCESS; /* 通知の戻り値 */

    ret = sensor_read(temp_x10, humidity_x10, pressure_x10);
    if (ret != EXIT_SUCCESS) {
        LOG_ERR("Reading the sensor failed (err %d)", ret);
        return ret;
    }

    log_sample(*temp_x10, *humidity_x10, *pressure_x10);

    /* 接続しているゲートウェイへ通知する (失敗しても次回に再試行する) */
    notify_ret = ble_notify_temperature(*temp_x10, *humidity_x10, *pressure_x10);
    if (notify_ret != EXIT_SUCCESS) {
        LOG_ERR("Failed to notify the temperature (err %d)", notify_ret);
    }

    return EXIT_SUCCESS;
}

/**
 * 温度と湿度と気圧をログに出力する
 *
 * 10 分の 1 の単位の整数を小数点付きの形 (例: -3.5 ℃, 45.0 %, 1013.2 hPa) で出力する.
 * 湿度を測れないとき (THERMO_HUMIDITY_NONE) は温度だけを出力する. 気圧は測れたときだけ,
 * 別の行に出力する.
 *
 * @param[in] temp_x10     温度 [℃ の 10 倍]
 * @param[in] humidity_x10 湿度 [% の 10 倍]
 * @param[in] pressure_x10 気圧 [hPa の 10 倍] (THERMO_PRESSURE_NONE は測れない)
 */
static void log_sample(int16_t temp_x10, uint16_t humidity_x10, uint16_t pressure_x10)
{
    int temp = temp_x10; /* 温度 [℃ の 10 倍] */
    /* 0 ℃ 未満は整数部が 0 でも (-0.5 など) 符号を出すため, 符号を別に出力する */
    const char *sign = ((temp < 0) ? "-" : "");       /* 符号 */
    unsigned int magnitude = (unsigned int)abs(temp); /* 絶対値 */

    if (humidity_x10 == THERMO_HUMIDITY_NONE) {
        LOG_INF("Temperature: %s%u.%u C", sign, magnitude / 10U, magnitude % 10U);
    } else {
        LOG_INF("Temperature: %s%u.%u C, humidity: %u.%u %%", sign, magnitude / 10U,
                magnitude % 10U, humidity_x10 / 10U, humidity_x10 % 10U);
    }
    if (pressure_x10 != THERMO_PRESSURE_NONE) {
        LOG_INF("Pressure: %u.%u hPa", pressure_x10 / 10U, pressure_x10 % 10U);
    }
}

/**
 * 一定の間隔の格子の次の時刻を求める
 *
 * 待ちはカーネルのティックの丸めで, 少し長くなる. "今 + 間隔" で次を決めると遅れが
 * 積もるので, ループを始めた時刻から間隔ごとの格子に合わせる.
 *
 * @param[in] start_ms    格子の始まりの稼働時間 [ms]
 * @param[in] now_ms      今の稼働時間 [ms] (start_ms 以上)
 * @param[in] interval_ms 間隔 [ms] (1 以上)
 * @return 今より後の格子の最初の稼働時間 [ms]
 */
static int64_t next_grid_ms(int64_t start_ms, int64_t now_ms, int64_t interval_ms)
{
    return start_ms + ((((now_ms - start_ms) / interval_ms) + 1) * interval_ms);
}
```

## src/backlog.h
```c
/*
 * Copyright (c) 2026 Tetsuya Higashi
 *
 * SPDX-License-Identifier: GPL-3.0-or-later
 */

#ifndef THERMO_NODE_BACKLOG_H
#define THERMO_NODE_BACKLOG_H

/**
 * @file
 * @brief SD カードに保存する測定値の記録 (送信済みフラグつき. ストア・アンド・フォワード)
 *
 * 全ての測定値を SD カード (FatFS) の 1 つのファイルに保存する. ファイルは記録の数が
 * CONFIG_THERMO_BACKLOG_MAX_RECORDS の輪で, いっぱいになったら, 最も古い記録から上書きする
 * (古い記録は送り終えたものが多いので, 未送信の記録は最後まで残る). 1 件は 16 バイトの
 * 固定長 (リトルエンディアン): 測った UNIX 時刻 4 バイト, 温度 2 バイト, 湿度 2 バイト,
 * 送信済みフラグ 1 バイト, 気圧 2 バイト, 予約 1 バイト, CRC-32 4 バイト (先頭の 8 バイトと
 * 気圧の CRC. フラグは含めず, 送り終えたら, その 1 バイトだけを書き換える. 気圧なしの記録は,
 * 先頭の 8 バイトだけの CRC で, 気圧を足す前の記録と同じ形). ゲートウェイ (BLE)
 * に送った測定値は送信済みで 保存する. BLE にも WiFi
 * にもつながっていない間の測定値は未送信で保存して, つながったときに, backlog_read()
 * で古い順に読み出して送り, 送り終えた数を backlog_commit() で知らせる. 電源が切れたときの,
 * 書きかけの記録 (16 バイトに満たない端) は捨てる. グラフの履歴を戻すために, 直近の記録を
 * backlog_foreach_since() で読み出せる. 使わないときは CONFIG_THERMO_BACKLOG=n で ビルドする
 * (このファイルの機能はビルドされない).
 */

#include <zephyr/sys/util.h> /* ARG_UNUSED */
#include <errno.h>           /* ENODEV */
#include <stdbool.h>         /* bool */
#include <stdint.h>          /* int64_t int16_t uint16_t */

/** 保存する測定値 1 件 */
struct backlog_record {
    int64_t unix_s;        /**< 測った UNIX 時刻 [s] (UTC. 0 から UINT32_MAX) */
    int16_t temp_x10;      /**< 温度 [℃ の 10 倍] */
    uint16_t humidity_x10; /**< 湿度 [% の 10 倍] (THERMO_HUMIDITY_NONE は測れない) */
    uint16_t pressure_x10; /**< 気圧 [hPa の 10 倍] (THERMO_PRESSURE_NONE は測れない) */
};

/**
 * backlog_foreach_since() が記録 1 件ごとに呼ぶ関数
 *
 * @param[in] rec 記録 (古い順)
 * @param[in] ctx 呼び出し側が渡した値
 */
typedef void (*backlog_visit_t)(const struct backlog_record *rec, void *ctx);

#ifdef CONFIG_THERMO_BACKLOG

/** 保存できる測定値の数 (CONFIG_THERMO_BACKLOG_MAX_RECORDS. 超えたら, 古い記録から上書きする) */
#define BACKLOG_MAX_RECORDS ((unsigned int)CONFIG_THERMO_BACKLOG_MAX_RECORDS)

int backlog_mount(void);

int backlog_init(void);

int backlog_append(const struct backlog_record *rec, bool is_sent);

unsigned int backlog_pending(void);

int backlog_read(struct backlog_record *rec, unsigned int index);

int backlog_commit(unsigned int count);

int backlog_foreach_since(int64_t since_unix_s, backlog_visit_t visit, void *ctx);

#else

/*
 * CONFIG_THERMO_BACKLOG=n のとき (SD カードを使わないビルド): 何も保存しない. 呼び出し側
 * (direct.c) は SD カードがないときと同じに扱う.
 */

/**
 * 何もしない (SD カードを使わない)
 *
 * @return -ENODEV
 */
static inline int backlog_mount(void)
{
    return -ENODEV;
}

/**
 * 何もしない (SD カードを使わない)
 *
 * @return -ENODEV
 */
static inline int backlog_init(void)
{
    return -ENODEV;
}

/**
 * 何もしない (SD カードを使わない)
 *
 * @param[in] rec  使用しない
 * @param[in] is_sent 使用しない
 * @return -ENODEV
 */
static inline int backlog_append(const struct backlog_record *rec, bool is_sent)
{
    ARG_UNUSED(rec);
    ARG_UNUSED(is_sent);

    return -ENODEV;
}

/**
 * 何もしない (SD カードを使わない)
 *
 * @return 0
 */
static inline unsigned int backlog_pending(void)
{
    return 0U;
}

/**
 * 何もしない (SD カードを使わない)
 *
 * @param[out] rec   使用しない
 * @param[in]  index 使用しない
 * @return -ENODEV
 */
static inline int backlog_read(struct backlog_record *rec, unsigned int index)
{
    ARG_UNUSED(rec);
    ARG_UNUSED(index);

    return -ENODEV;
}

/**
 * 何もしない (SD カードを使わない)
 *
 * @param[in] count 使用しない
 * @return -ENODEV
 */
static inline int backlog_commit(unsigned int count)
{
    ARG_UNUSED(count);

    return -ENODEV;
}

/**
 * 何もしない (SD カードを使わない)
 *
 * @param[in] since_unix_s 使用しない
 * @param[in] visit        使用しない
 * @param[in] ctx          使用しない
 * @return -ENODEV
 */
static inline int backlog_foreach_since(int64_t since_unix_s, backlog_visit_t visit, void *ctx)
{
    ARG_UNUSED(since_unix_s);
    ARG_UNUSED(visit);
    ARG_UNUSED(ctx);

    return -ENODEV;
}

#endif /* CONFIG_THERMO_BACKLOG */

#endif /* THERMO_NODE_BACKLOG_H */
```

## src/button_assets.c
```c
/*
 * Copyright (c) 2026 Tetsuya Higashi
 *
 * SPDX-License-Identifier: GPL-3.0-or-later
 */

/**
 * @file
 * @brief thermo-node のボタンを押したときの音の素材 (このアプリのオリジナル)
 *
 * 約 0.1 秒の上がる 2 音の短い音. このアプリ用に作ったもの.
 */

#include <zephyr/sys/util.h> /* ARRAY_SIZE */

#include "button_assets.h"

/** ボタンを押したときの音 (音名 [notes.h], 長さ [ms]. NOTE_REST は休符) */
const struct buzzer_note button_melody[] = {
    {NOTE_A5, 40},
    {NOTE_E6, 60},
};

/** 音の数 */
const size_t button_melody_count = ARRAY_SIZE(button_melody);
```
